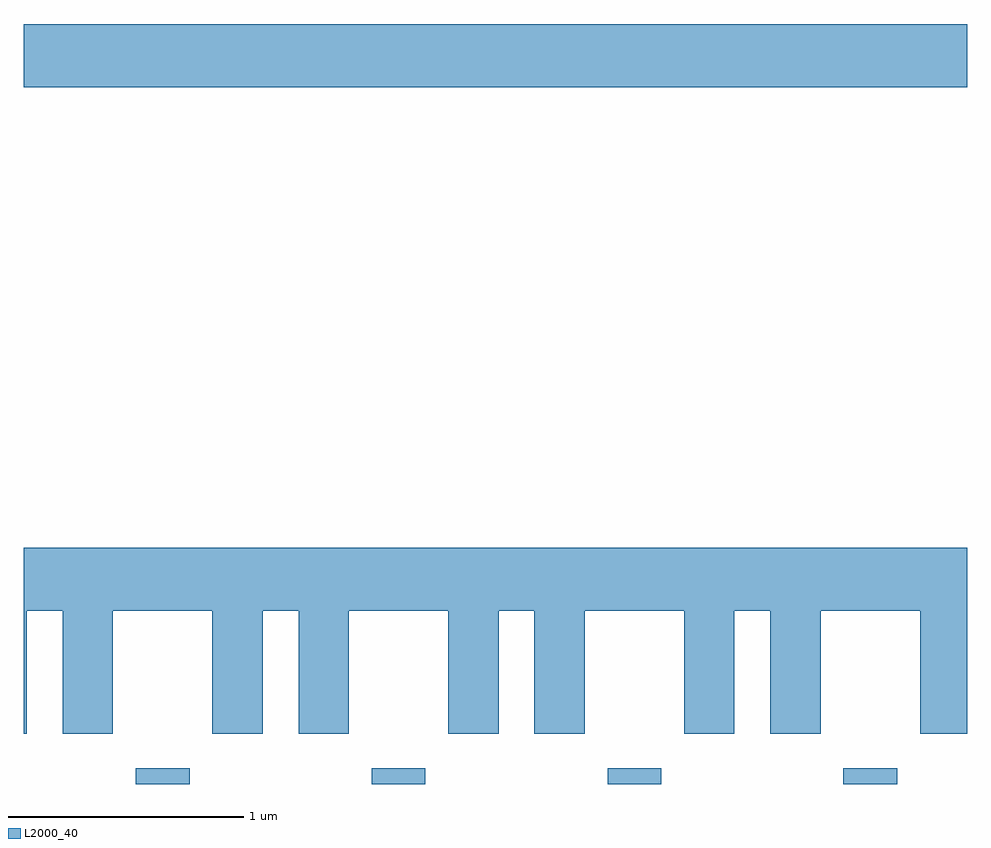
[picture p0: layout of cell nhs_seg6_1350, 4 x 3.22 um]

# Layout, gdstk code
import gdstk
lib = gdstk.Library(unit=1e-6, precision=1e-09)
def R(c, l, rs):  # rectangles x0, y0, x1, y1
    for r in rs: c.add(gdstk.rectangle(r[:2], r[2:], *l))
def A(c, l, x, y, w, h, nx, ny, dx, dy):  # array of equal rectangles
    R(c, l, [(x+i*dx, y+j*dy, x+i*dx+w, y+j*dy+h) for i in range(nx) for j in range(ny)])
def P(c, l, *ps):  # polygons
    for p in ps: c.add(gdstk.Polygon(p, *l))
L2000_40 = (2000, 40)

nhs_seg6_1350 = lib.new_cell('nhs_seg6_1350')
A(nhs_seg6_1350, L2000_40, 226.086, 1578.162, 0.228, 0.067, 4, 1, 1, 0)
R(nhs_seg6_1350, L2000_40, [(225.611,1581.116,229.611,1581.384)])
P(nhs_seg6_1350, L2000_40, [(225.624,1578.896),(225.776,1578.896),(225.776,1578.376),(225.989,1578.376),(225.989,1578.896),(226.411,1578.896),(226.411,1578.376),(226.624,1578.376),(226.624,1578.896),(226.776,1578.896),(226.776,1578.376),(226.989,1578.376),(226.989,1578.896),(227.411,1578.896),(227.411,1578.376),(227.624,1578.376),(227.624,1578.896),(227.776,1578.896),(227.776,1578.376),(227.989,1578.376),(227.989,1578.896),(228.411,1578.896),(228.411,1578.376),(228.624,1578.376),(228.624,1578.896),(228.776,1578.896),(228.776,1578.376),(228.989,1578.376),(228.989,1578.896),(229.411,1578.896),(229.411,1578.376),(229.611,1578.376),(229.611,1579.164),(225.611,1579.164),(225.611,1578.376),(225.624,1578.376)])

lib.write_gds('nhs_seg6_1350.gds')
